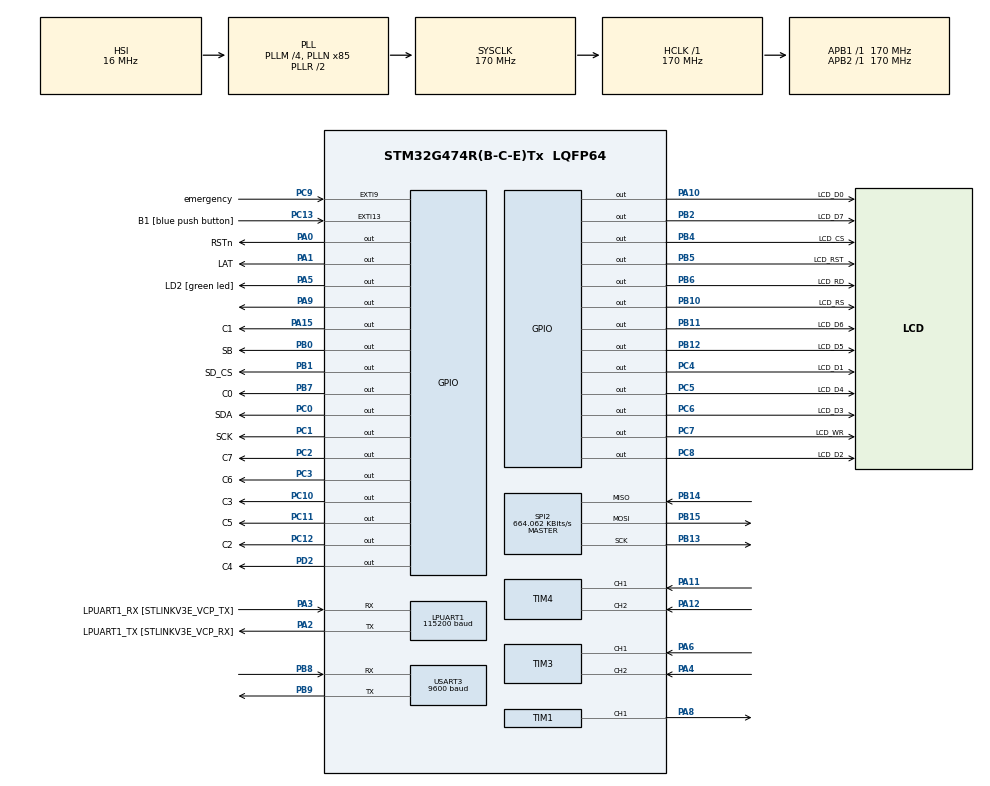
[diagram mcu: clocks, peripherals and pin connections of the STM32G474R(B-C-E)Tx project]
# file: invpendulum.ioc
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ARM.CMSIS-DSP.1.15.0.CMSISJjDSP=Source
ARM.CMSIS.6.0.0.CMSISJjCORE=true
Dma.Request0=USART3_RX
Dma.Request1=USART3_TX
Dma.USART3_RX.0.Direction=DMA_PERIPH_TO_MEMORY
Dma.USART3_RX.0.EventEnable=DISABLE
Dma.USART3_RX.0.Instance=DMA1_Channel1
Dma.USART3_RX.0.MemDataAlignment=DMA_MDATAALIGN_BYTE
Dma.USART3_RX.0.MemInc=DMA_MINC_ENABLE
Dma.USART3_RX.0.Mode=DMA_CIRCULAR
Dma.USART3_RX.0.PeriphDataAlignment=DMA_PDATAALIGN_BYTE
Dma.USART3_RX.0.PeriphInc=DMA_PINC_DISABLE
Dma.USART3_RX.0.Polarity=HAL_DMAMUX_REQ_GEN_RISING
Dma.USART3_RX.0.Priority=DMA_PRIORITY_LOW
Dma.USART3_RX.0.RequestNumber=1
Dma.USART3_RX.0.SignalID=NONE
Dma.USART3_RX.0.SyncEnable=DISABLE
Dma.USART3_RX.0.SyncPolarity=HAL_DMAMUX_SYNC_NO_EVENT
Dma.USART3_RX.0.SyncRequestNumber=1
Dma.USART3_RX.0.SyncSignalID=NONE
Dma.USART3_TX.1.Direction=DMA_MEMORY_TO_PERIPH
Dma.USART3_TX.1.EventEnable=DISABLE
Dma.USART3_TX.1.Instance=DMA1_Channel2
Dma.USART3_TX.1.MemDataAlignment=DMA_MDATAALIGN_BYTE
Dma.USART3_TX.1.MemInc=DMA_MINC_ENABLE
Dma.USART3_TX.1.Mode=DMA_NORMAL
Dma.USART3_TX.1.PeriphDataAlignment=DMA_PDATAALIGN_BYTE
Dma.USART3_TX.1.PeriphInc=DMA_PINC_DISABLE
Dma.USART3_TX.1.Polarity=HAL_DMAMUX_REQ_GEN_RISING
Dma.USART3_TX.1.Priority=DMA_PRIORITY_LOW
Dma.USART3_TX.1.RequestNumber=1
Dma.USART3_TX.1.SignalID=NONE
Dma.USART3_TX.1.SyncEnable=DISABLE
Dma.USART3_TX.1.SyncPolarity=HAL_DMAMUX_SYNC_NO_EVENT
Dma.USART3_TX.1.SyncRequestNumber=1
Dma.USART3_TX.1.SyncSignalID=NONE
LPUART1.BaudRate=115200
Mcu.Family=STM32G4
Mcu.Name=STM32G474R(B-C-E)Tx
Mcu.Package=LQFP64
NVIC.DMA1_Channel1_IRQn=true\:0\:0\:false\:false\:true\:false\:true\:true
NVIC.DMA1_Channel2_IRQn=true\:0\:0\:false\:false\:true\:false\:true\:true
NVIC.EXTI15_10_IRQn=true\:0\:0\:false\:false\:true\:true\:true\:true
NVIC.PriorityGroup=NVIC_PRIORITYGROUP_4
NVIC.TIM2_IRQn=true\:0\:0\:true\:false\:true\:true\:true\:true
NVIC.USART3_IRQn=true\:0\:0\:false\:false\:true\:true\:true\:true
PA0.GPIO_Label=RSTn
PA0.Signal=GPIO_Output
PA1.GPIO_Label=LAT
PA1.Signal=GPIO_Output
PA10.GPIO_Label=LCD_D0
PA10.Signal=GPIO_Output
PA11.Signal=S_TIM4_CH1
PA12.Signal=S_TIM4_CH2
PA13.GPIO_Label=T_SWDIO
PA13.Signal=SYS_JTMS-SWDIO
PA14.GPIO_Label=T_SWCLK
PA14.Signal=SYS_JTCK-SWCLK
PA15.GPIO_Label=C1
PA15.Signal=GPIO_Output
PA2.GPIO_Label=LPUART1_TX [STLINKV3E_VCP_RX]
PA2.Mode=Asynchronous
PA2.Signal=LPUART1_TX
PA3.GPIO_Label=LPUART1_RX [STLINKV3E_VCP_TX]
PA3.Mode=Asynchronous
PA3.Signal=LPUART1_RX
PA4.Signal=S_TIM3_CH2
PA5.GPIO_Label=LD2 [green led]
PA5.Signal=GPIO_Output
PA6.Signal=S_TIM3_CH1
PA8.Signal=S_TIM1_CH1
PA9.Signal=GPIO_Output
PB0.GPIO_Label=SB
PB0.Signal=GPIO_Output
PB1.GPIO_Label=SD_CS
PB1.Signal=GPIO_Output
PB10.GPIO_Label=LCD_RS
PB10.Signal=GPIO_Output
PB11.GPIO_Label=LCD_D6
PB11.Signal=GPIO_Output
PB12.GPIO_Label=LCD_D5
PB12.Signal=GPIO_Output
PB13.Mode=Full_Duplex_Master
PB13.Signal=SPI2_SCK
PB14.Mode=Full_Duplex_Master
PB14.Signal=SPI2_MISO
PB15.Mode=Full_Duplex_Master
PB15.Signal=SPI2_MOSI
PB2.GPIO_Label=LCD_D7
PB2.Signal=GPIO_Output
PB3.GPIO_Label=T_SWO
PB3.Signal=SYS_JTDO-SWO
PB4.GPIO_Label=LCD_CS
PB4.Signal=GPIO_Output
PB5.GPIO_Label=LCD_RST
PB5.Signal=GPIO_Output
PB6.GPIO_Label=LCD_RD
PB6.Signal=GPIO_Output
PB7.GPIO_Label=C0
PB7.Signal=GPIO_Output
PB8-BOOT0.Mode=Asynchronous
PB8-BOOT0.Signal=USART3_RX
PB9.Mode=Asynchronous
PB9.Signal=USART3_TX
PC0.GPIO_Label=SDA
PC0.Signal=GPIO_Output
PC1.GPIO_Label=SCK
PC1.Signal=GPIO_Output
PC10.GPIO_Label=C3
PC10.Signal=GPIO_Output
PC11.GPIO_Label=C5
PC11.Signal=GPIO_Output
PC12.GPIO_Label=C2
PC12.Signal=GPIO_Output
PC13.GPIO_Label=B1 [blue push button]
PC13.Signal=GPXTI13
PC14-OSC32_IN.GPIO_Label=RCC_OSC32_IN
PC14-OSC32_IN.Signal=RCC_OSC32_IN
PC15-OSC32_OUT.GPIO_Label=RCC_OSC32_OUT
PC15-OSC32_OUT.Signal=RCC_OSC32_OUT
PC2.GPIO_Label=C7
PC2.Signal=GPIO_Output
PC3.GPIO_Label=C6
PC3.Signal=GPIO_Output
PC4.GPIO_Label=LCD_D1
PC4.Signal=GPIO_Output
PC5.GPIO_Label=LCD_D4
PC5.Signal=GPIO_Output
PC6.GPIO_Label=LCD_D3
PC6.Signal=GPIO_Output
PC7.GPIO_Label=LCD_WR
PC7.Signal=GPIO_Output
PC8.GPIO_Label=LCD_D2
PC8.Signal=GPIO_Output
PC9.GPIO_Label=emergency
PC9.Signal=GPXTI9
PD2.GPIO_Label=C4
PD2.Signal=GPIO_Output
PF0-OSC_IN.GPIO_Label=RCC_OSC_IN
PF0-OSC_IN.Signal=RCC_OSC_IN
PF1-OSC_OUT.GPIO_Label=RCC_OSC_OUT
PF1-OSC_OUT.Signal=RCC_OSC_OUT
ProjectManager.HeapSize=0x200
ProjectManager.StackSize=0x400
ProjectManager.TargetToolchain=STM32CubeIDE
RCC.ADC12Freq_Value=170000000
RCC.ADC345Freq_Value=170000000
RCC.AHBFreq_Value=170000000
RCC.APB1Freq_Value=170000000
RCC.APB1TimFreq_Value=170000000
RCC.APB2Freq_Value=170000000
RCC.APB2TimFreq_Value=170000000
RCC.CortexFreq_Value=170000000
RCC.EXTERNAL_CLOCK_VALUE=12288000
RCC.HCLKFreq_Value=170000000
RCC.HSE_VALUE=24000000
RCC.HSI48_VALUE=48000000
RCC.HSI_VALUE=16000000
RCC.LSE_VALUE=32768
RCC.PLLM=RCC_PLLM_DIV4
RCC.PLLN=85
RCC.RTCClockSelection=RCC_RTCCLKSOURCE_LSE
RCC.SYSCLKFreq_VALUE=170000000
RCC.SYSCLKSource=RCC_SYSCLKSOURCE_PLLCLK
RCC.USBFreq_Value=170000000
RCC.VCOOutputFreq_Value=340000000
SH.S_TIM1_CH1.0=TIM1_CH1,PWM Generation1 CH1
SH.S_TIM3_CH1.0=TIM3_CH1,Encoder_Interface
SH.S_TIM3_CH2.0=TIM3_CH2,Encoder_Interface
SH.S_TIM4_CH1.0=TIM4_CH1,Encoder_Interface
SH.S_TIM4_CH2.0=TIM4_CH2,Encoder_Interface
SPI2.BaudRatePrescaler=SPI_BAUDRATEPRESCALER_256
SPI2.CalculateBaudRate=664.062 KBits/s
SPI2.DataSize=SPI_DATASIZE_8BIT
SPI2.Direction=SPI_DIRECTION_2LINES
SPI2.Mode=SPI_MODE_MASTER
SPI2.VirtualType=VM_MASTER
TIM1.Channel-PWM\ Generation1\ CH1=TIM_CHANNEL_1
TIM1.PeriodNoDither=65535
TIM1.Prescaler=0
TIM2.PeriodNoDither=999
TIM2.Prescaler=169
TIM3.EncoderMode=TIM_ENCODERMODE_TI12
TIM4.EncoderMode=TIM_ENCODERMODE_TI12
USART3.BaudRate=9600
USART3.VirtualMode-Asynchronous=VM_ASYNC
VP_ARM.CMSIS-DSP_VS_CMSISJjDSP_1.15.0_1.15.0.Mode=CMSISJjDSP
VP_ARM.CMSIS_VS_CMSISJjCORE_6.0.0_6.0.0.Mode=CMSISJjCORE
VP_FATFS_VS_Generic.Mode=User_defined
VP_IWDG_VS_IWDG.Mode=IWDG_Activate
VP_SYS_VS_DBSignals.Mode=DisableDeadBatterySignals
VP_TIM2_VS_ClockSourceINT.Mode=Internal
board=NUCLEO-G474RE

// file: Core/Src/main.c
/* USER CODE BEGIN Header */
/**
 ******************************************************************************
 * @file           : main.c
 * @brief          : Main program body
 ******************************************************************************
 * @attention
 *
 * Copyright (c) 2025 STMicroelectronics.
 * All rights reserved.
 *
 * This software is licensed under terms that can be found in the LICENSE file
 * in the root directory of this software component.
 * If no LICENSE file comes with this software, it is provided AS-IS.
 *
 ******************************************************************************
 */
/* USER CODE END Header */
#include "main.h"
#include "dma.h"
#include "app_fatfs.h"
#include "iwdg.h"
#include "usart.h"
#include "spi.h"
#include "tim.h"
#include "gpio.h"

/* USER CODE BEGIN Includes */
#include "rip_config.h"
#include <stdio.h>
#include <stdarg.h>
/* USER CODE END Includes */

/* USER CODE BEGIN PV */
float cmd_energy_norm, cmd_lqr_volt;
int total_cmd, cmd_energy, cmd_lqr, cmd_kick;

float alpha, alpha_shifted, alpha_dot, theta, theta_dot, voltage_input;

PendulumState state = STATE_WAIT_BUTTON;
int kick_counter = 0;

int debug, emer, released, led_counter = 0;

/* USER CODE END PV */

void SystemClock_Config(void);
/* USER CODE BEGIN PFP */
static inline float wrap_pi(float x);
static inline float wrap_2pi(float x);
/* USER CODE END PFP */

/* USER CODE BEGIN 0 */
void Debug_Printf(const char* format, ...) {
    char buffer[256];
    va_list args;
    va_start(args, format);
    int len = vsnprintf(buffer, sizeof(buffer), format, args);
    va_end(args);

    HAL_UART_Transmit(&hlpuart1, (uint8_t*)buffer, len, 1000);
}
/* USER CODE END 0 */

int main(void)
{

  /* MCU Configuration--------------------------------------------------------*/

  /* Reset of all peripherals, Initializes the Flash interface and the Systick. */
  HAL_Init();

  /* Configure the system clock */
  SystemClock_Config();

  /* Initialize all configured peripherals */
  MX_GPIO_Init();
  MX_DMA_Init();
  MX_TIM1_Init();
  MX_TIM2_Init();
  MX_TIM3_Init();
  MX_TIM4_Init();
  MX_SPI2_Init();
  MX_USART3_UART_Init();
  if (MX_FATFS_Init() != APP_OK) {
    Error_Handler();
  }
  MX_LPUART1_UART_Init();
  MX_IWDG_Init();
  /* USER CODE BEGIN 2 */
//	config_begin();
  /* USER CODE END 2 */

  /* Infinite loop */
	while (1) {

    /* USER CODE BEGIN 3 */
		HAL_IWDG_Refresh(&hiwdg);
		emer = HAL_GPIO_ReadPin(emergency_GPIO_Port, emergency_Pin);
	}
  /* USER CODE END 3 */
}

void SystemClock_Config(void)
{
  RCC_OscInitTypeDef RCC_OscInitStruct = {0};
  RCC_ClkInitTypeDef RCC_ClkInitStruct = {0};

  /** Configure the main internal regulator output voltage
  */
  HAL_PWREx_ControlVoltageScaling(PWR_REGULATOR_VOLTAGE_SCALE1_BOOST);

  /** Initializes the RCC Oscillators according to the specified parameters
  * in the RCC_OscInitTypeDef structure.
  */
  RCC_OscInitStruct.OscillatorType = RCC_OSCILLATORTYPE_HSI|RCC_OSCILLATORTYPE_LSI;
  RCC_OscInitStruct.HSIState = RCC_HSI_ON;
  RCC_OscInitStruct.HSICalibrationValue = RCC_HSICALIBRATION_DEFAULT;
  RCC_OscInitStruct.LSIState = RCC_LSI_ON;
  RCC_OscInitStruct.PLL.PLLState = RCC_PLL_ON;
  RCC_OscInitStruct.PLL.PLLSource = RCC_PLLSOURCE_HSI;
  RCC_OscInitStruct.PLL.PLLM = RCC_PLLM_DIV4;
  RCC_OscInitStruct.PLL.PLLN = 85;
  RCC_OscInitStruct.PLL.PLLP = RCC_PLLP_DIV2;
  RCC_OscInitStruct.PLL.PLLQ = RCC_PLLQ_DIV2;
  RCC_OscInitStruct.PLL.PLLR = RCC_PLLR_DIV2;
  if (HAL_RCC_OscConfig(&RCC_OscInitStruct) != HAL_OK)
  {
    Error_Handler();
  }

  /** Initializes the CPU, AHB and APB buses clocks
  */
  RCC_ClkInitStruct.ClockType = RCC_CLOCKTYPE_HCLK|RCC_CLOCKTYPE_SYSCLK
                              |RCC_CLOCKTYPE_PCLK1|RCC_CLOCKTYPE_PCLK2;
  RCC_ClkInitStruct.SYSCLKSource = RCC_SYSCLKSOURCE_PLLCLK;
  RCC_ClkInitStruct.AHBCLKDivider = RCC_SYSCLK_DIV1;
  RCC_ClkInitStruct.APB1CLKDivider = RCC_HCLK_DIV1;
  RCC_ClkInitStruct.APB2CLKDivider = RCC_HCLK_DIV1;

  if (HAL_RCC_ClockConfig(&RCC_ClkInitStruct, FLASH_LATENCY_4) != HAL_OK)
  {
    Error_Handler();
  }
}

/* USER CODE BEGIN 4 */
static inline float wrap_pi(float x) {
	while (x > M_PI)
		x -= 2.0f * M_PI;
	while (x <= -M_PI)
		x += 2.0f * M_PI;
	return x;
}

static inline float wrap_2pi(float x) {
	while (x >= 2.0f * M_PI)
		x -= 2.0f * M_PI;
	while (x < 0.0f)
		x += 2.0f * M_PI;
	return x;
}

void HAL_TIM_PeriodElapsedCallback(TIM_HandleTypeDef *htim) {
	if (htim == &htim2) {
		QEI_get_diff_count(&motor_encoder);
		QEI_compute_data(&motor_encoder);
		QEI_get_diff_count(&pendulum_encoder);
		QEI_compute_data(&pendulum_encoder);

		total_cmd = cmd_lqr + cmd_energy + cmd_kick;

		voltage_input = total_cmd * MOTOR_VOLTAGE_LIMIT / 65535.0;

		alpha = wrap_2pi(pendulum_encoder.rads);
		alpha_dot = FIR_process(&alpha_dot_filter, pendulum_encoder.radps);
		theta = motor_encoder.rads;
//		theta_dot = FIR_process(&theta_dot_filter, motor_encoder.radps);
		theta_dot = kf_update(&motor_filter, voltage_input, theta);

		alpha_shifted = wrap_pi(alpha - M_PI);

		switch (state) {
		case STATE_WAIT_BUTTON:
			if (emer) {
				state = STATE_EMERGENCY;
			}

			cmd_lqr = 0;
			if (++led_counter >= 100) {
				HAL_GPIO_TogglePin(LD2_GPIO_Port, LD2_Pin);
				led_counter = 0;
			}
			if (HAL_GPIO_ReadPin(B1_GPIO_Port, B1_Pin) == GPIO_PIN_SET) {
				kick_counter = 0;
				state = STATE_KICK;
				QEI_reset(&pendulum_encoder);
				QEI_reset(&motor_encoder);
				kf_clear(&motor_filter);
				total_cmd = 0;
				HAL_GPIO_WritePin(LD2_GPIO_Port, LD2_Pin, GPIO_PIN_RESET);
			}

			MDXX_set_range(&motor, 2000, 0);
			break;
		case STATE_KICK:
			kick_counter++;
			cmd_kick = (kick_counter < 250) ? 6000 : -6000;

			if (kick_counter < 500) {
				MDXX_set_range(&motor, 2000, cmd_kick);
			} else {
				cmd_kick = 0;
				state = STATE_SWINGUP;
			}
			break;
		case STATE_SWINGUP:
			if (fabsf(alpha_shifted) < 0.25) {
			    cmd_energy = 0;
			    cmd_kick = 0;
				state = STATE_LQR;
			} else {
				cmd_energy_norm = EnergyCtrl_Update(&swingup, alpha, alpha_dot);
				cmd_energy = (int) (cmd_energy_norm * 6000.0f);
				MDXX_set_range(&motor, 2000, cmd_energy);
			}
			break;
		case STATE_LQR:
			if (fabsf(alpha_shifted) > 0.5f) {
				cmd_energy = 0;
				state = STATE_WAIT_BUTTON;
				MDXX_set_range(&motor, 2000, 0);
			} else {
				LQR_SetState(&lqr_ctrl, theta, alpha_shifted, theta_dot,
						alpha_dot);
				cmd_lqr_volt = LQR_Update(&lqr_ctrl);
				cmd_lqr = (int) (cmd_lqr_volt * 65535.0f / MOTOR_VOLTAGE_LIMIT);
				MDXX_set_range(&motor, 2000, cmd_lqr);
			}
			break;
		case STATE_EMERGENCY:
			cmd_lqr = 0;
			MDXX_set_range(&motor, 2000, 0);
			QEI_reset(&motor_encoder);
			QEI_reset(&pendulum_encoder);
			kf_clear(&motor_filter);
			total_cmd = 0;
			HAL_GPIO_WritePin(LD2_GPIO_Port, LD2_Pin, GPIO_PIN_SET);

			if (emer == 0) {
				released = 1;
			}

			if (released
					&& HAL_GPIO_ReadPin(B1_GPIO_Port, B1_Pin) == GPIO_PIN_SET) {
				state = STATE_WAIT_BUTTON;
				HAL_GPIO_WritePin(LD2_GPIO_Port, LD2_Pin, GPIO_PIN_RESET);
				led_counter = 0;
				released = 0;
				debug = 0;
			}
			break;
		}
	}
}

void HAL_GPIO_EXTI_Callback(uint16_t GPIO_Pin) {
	if (GPIO_Pin == emergency_Pin) {
		state = STATE_EMERGENCY;
		released = 0;
	}
}
/* USER CODE END 4 */

void Error_Handler(void)
{
	__disable_irq();
	while (1) {
	}
}
